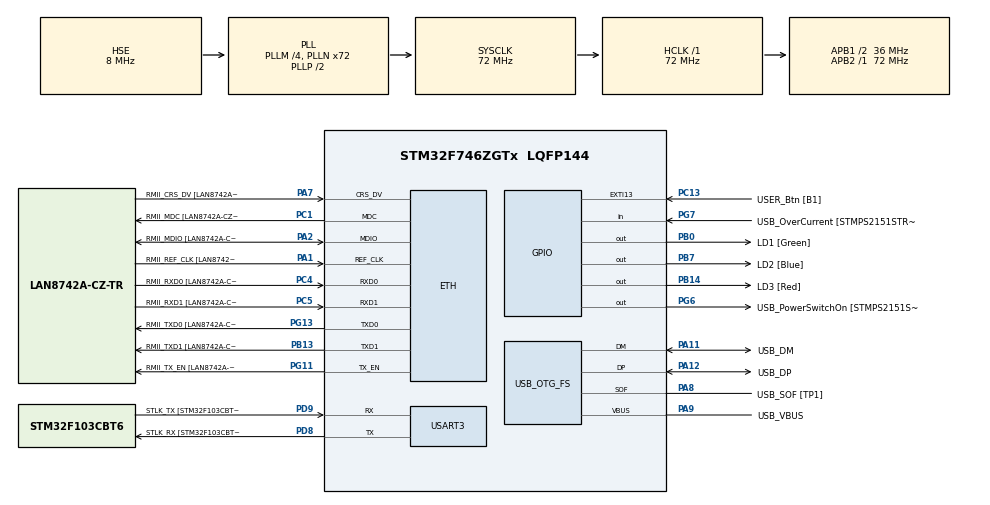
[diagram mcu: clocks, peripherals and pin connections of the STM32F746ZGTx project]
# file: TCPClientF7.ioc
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ETH.MACAddr=00\:80\:E0\:12\:34\:56
ETH.MediaInterface=ETH_MEDIA_INTERFACE_RMII
ETH.PHY_Name=LAN8742A_PHY_ADDRESS
ETH.PHY_Value=0
ETH.PhyAddress=0
ETH.RxMode=ETH_RXINTERRUPT_MODE
FREERTOS.HEAP_NUMBER=5
FREERTOS.Tasks01=defaultTask,0,128,StartDefaultTask,Default,NULL
FREERTOS.configGENERATE_RUN_TIME_STATS=1
FREERTOS.configTOTAL_HEAP_SIZE=32768
FREERTOS.configUSE_STATS_FORMATTING_FUNCTIONS=1
FREERTOS.configUSE_TRACE_FACILITY=1
LWIP.GATEWAY_ADDRESS=192.168.055.001
LWIP.IP_ADDRESS=192.168.055.141
LWIP.LWIP_DHCP=0
LWIP.MEM_SIZE=2048
LWIP.NETMASK_ADDRESS=255.255.255.000
LWIP.Version=v2.0.3_Cube
Mcu.Family=STM32F7
Mcu.Name=STM32F746ZGTx
Mcu.Package=LQFP144
NVIC.ETH_IRQn=true\:5\:0\:false\:false\:true\:true\:true\:true
NVIC.PriorityGroup=NVIC_PRIORITYGROUP_4
NVIC.TIM1_UP_TIM10_IRQn=true\:0\:0\:false\:false\:true\:false\:false\:true
NVIC.TimeBase=TIM1_UP_TIM10_IRQn
NVIC.TimeBaseIP=TIM1
PA1.GPIO_Label=RMII_REF_CLK [LAN8742A-CZ-TR_REFCLK0]
PA1.Mode=RMII
PA1.Signal=ETH_REF_CLK
PA10.GPIO_Label=USB_ID
PA10.Signal=USB_OTG_FS_ID
PA11.GPIO_Label=USB_DM
PA11.Mode=Device_Only
PA11.Signal=USB_OTG_FS_DM
PA12.GPIO_Label=USB_DP
PA12.Mode=Device_Only
PA12.Signal=USB_OTG_FS_DP
PA13.GPIO_Label=TMS
PA13.Mode=Serial_Wire
PA13.Signal=SYS_JTMS-SWDIO
PA14.GPIO_Label=TCK
PA14.Mode=Serial_Wire
PA14.Signal=SYS_JTCK-SWCLK
PA2.GPIO_Label=RMII_MDIO [LAN8742A-CZ-TR_MDIO]
PA2.Mode=RMII
PA2.Signal=ETH_MDIO
PA7.GPIO_Label=RMII_CRS_DV [LAN8742A-CZ-TR_CRS_DV]
PA7.Mode=RMII
PA7.Signal=ETH_CRS_DV
PA8.GPIO_Label=USB_SOF [TP1]
PA8.Mode=Activate_SOF_FS
PA8.Signal=USB_OTG_FS_SOF
PA9.GPIO_Label=USB_VBUS
PA9.Mode=Activate_VBUS
PA9.Signal=USB_OTG_FS_VBUS
PB0.GPIO_Label=LD1 [Green]
PB0.Signal=GPIO_Output
PB13.GPIO_Label=RMII_TXD1 [LAN8742A-CZ-TR_TXD1]
PB13.Mode=RMII
PB13.Signal=ETH_TXD1
PB14.GPIO_Label=LD3 [Red]
PB14.Signal=GPIO_Output
PB3.GPIO_Label=SW0
PB3.Signal=SYS_JTDO-SWO
PB7.GPIO_Label=LD2 [Blue]
PB7.Signal=GPIO_Output
PC1.GPIO_Label=RMII_MDC [LAN8742A-CZ-TR_MDC]
PC1.Mode=RMII
PC1.Signal=ETH_MDC
PC13.GPIO_Label=USER_Btn [B1]
PC13.Signal=GPXTI13
PC14/OSC32_IN.Signal=RCC_OSC32_IN
PC15/OSC32_OUT.Signal=RCC_OSC32_OUT
PC4.GPIO_Label=RMII_RXD0 [LAN8742A-CZ-TR_RXD0]
PC4.Mode=RMII
PC4.Signal=ETH_RXD0
PC5.GPIO_Label=RMII_RXD1 [LAN8742A-CZ-TR_RXD1]
PC5.Mode=RMII
PC5.Signal=ETH_RXD1
PD8.GPIO_Label=STLK_RX [STM32F103CBT6_PA3]
PD8.Mode=Asynchronous
PD8.Signal=USART3_TX
PD9.GPIO_Label=STLK_TX [STM32F103CBT6_PA2]
PD9.Mode=Asynchronous
PD9.Signal=USART3_RX
PG11.GPIO_Label=RMII_TX_EN [LAN8742A-CZ-TR_TXEN]
PG11.Mode=RMII
PG11.Signal=ETH_TX_EN
PG13.GPIO_Label=RMII_TXD0 [LAN8742A-CZ-TR_TXD0]
PG13.Mode=RMII
PG13.Signal=ETH_TXD0
PG6.GPIO_Label=USB_PowerSwitchOn [STMPS2151STR_EN]
PG6.Signal=GPIO_Output
PG7.GPIO_Label=USB_OverCurrent [STMPS2151STR_FAULT]
PG7.Signal=GPIO_Input
PH0/OSC_IN.GPIO_Label=MCO [STM32F103CBT6_PA8]
PH0/OSC_IN.Mode=HSE-External-Oscillator
PH0/OSC_IN.Signal=RCC_OSC_IN
PH1/OSC_OUT.Mode=HSE-External-Oscillator
PH1/OSC_OUT.Signal=RCC_OSC_OUT
ProjectManager.HeapSize=0x200
ProjectManager.StackSize=0x400
ProjectManager.TargetToolchain=STM32CubeIDE
RCC.48MHZClocksFreq_Value=24000000
RCC.AHBFreq_Value=72000000
RCC.APB1CLKDivider=RCC_HCLK_DIV2
RCC.APB1Freq_Value=36000000
RCC.APB1TimFreq_Value=72000000
RCC.APB2Freq_Value=72000000
RCC.APB2TimFreq_Value=72000000
RCC.CortexFreq_Value=72000000
RCC.HCLKFreq_Value=72000000
RCC.HSE_VALUE=8000000
RCC.HSI_VALUE=16000000
RCC.LSE_VALUE=32768
RCC.PLLM=4
RCC.PLLMUL=RCC_PLL_MUL9
RCC.PLLN=72
RCC.PLLQ=3
RCC.PRESCALERUSB=RCC_USBCLKSOURCE_PLL_DIV1_5
RCC.SYSCLKFreq_VALUE=72000000
RCC.SYSCLKSource=RCC_SYSCLKSOURCE_PLLCLK
RCC.SYSCLKSourceVirtual=RCC_SYSCLKSOURCE_PLLCLK
RCC.USBFreq_Value=48000000
RCC.VCOOutputFreq_Value=144000000
USART3.VirtualMode-Asynchronous=VM_ASYNC
USB_OTG_FS.VirtualMode=Device_Only
VP_FREERTOS_VS_CMSIS_V1.Mode=CMSIS_V1
VP_LWIP_VS_Enabled.Mode=Enabled
VP_SYS_VS_tim1.Mode=TIM1
board=NUCLEO-F746ZG

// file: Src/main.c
/* USER CODE BEGIN Header */
/**
  ******************************************************************************
  * @file           : main.c
  * @brief          : Main program body
  ******************************************************************************
  * @attention
  *
  * <h2><center>&copy; Copyright (c) 2019 STMicroelectronics.
  * All rights reserved.</center></h2>
  *
  * This software component is licensed by ST under BSD 3-Clause license,
  * the "License"; You may not use this file except in compliance with the
  * License. You may obtain a copy of the License at:
  *                        opensource.org/licenses/BSD-3-Clause
  *
  ******************************************************************************
  */
/* USER CODE END Header */

#include "main.h"
#include "cmsis_os.h"
#include "lwip.h"

/* USER CODE BEGIN Includes */
#include "stdint.h"
#include "string.h"
#include "lwip/opt.h"
#include "lwip/arch.h"
#include "lwip/api.h"
#include "lwip/inet.h"
#include "lwip/sockets.h"
/* USER CODE END Includes */

UART_HandleTypeDef huart3;

PCD_HandleTypeDef hpcd_USB_OTG_FS;

osThreadId defaultTaskHandle;
/* USER CODE BEGIN PV */
static __attribute__ ((used,section(".user_heap_stack"))) uint8_t heap_sram1[32*1024];

osThreadId ThreadRecvHandle;

typedef struct struct_sock_t {
  uint16_t y_pos;
  uint16_t port;
} struct_sock;
struct_sock sock01;

typedef struct struct_recv_socket_t {
  int sock;
  uint16_t y_pos;
} struct_recv_socket;

struct_recv_socket recv_socket01;
/* USER CODE END PV */

void SystemClock_Config(void);
static void MX_GPIO_Init(void);
static void MX_USART3_UART_Init(void);
static void MX_USB_OTG_FS_PCD_Init(void);
void StartDefaultTask(void const * argument);

int main(void)
{
  /* USER CODE BEGIN 1 */
	  HeapRegion_t xHeapRegions[] =
	  {
	      {  heap_sram1, sizeof(heap_sram1) },
	      { NULL, 0 }
	  };
	  vPortDefineHeapRegions( xHeapRegions );
  /* USER CODE END 1 */

  /* MCU Configuration--------------------------------------------------------*/

  /* Reset of all peripherals, Initializes the Flash interface and the Systick. */
  HAL_Init();

  /* Configure the system clock */
  SystemClock_Config();

  /* Initialize all configured peripherals */
  MX_GPIO_Init();
  MX_USART3_UART_Init();
  MX_USB_OTG_FS_PCD_Init();

  /* Create the thread(s) */
  /* definition and creation of defaultTask */
  osThreadDef(defaultTask, StartDefaultTask, osPriorityNormal, 0, 1024);
  defaultTaskHandle = osThreadCreate(osThread(defaultTask), NULL);

  /* Start scheduler */
  osKernelStart();

  /* We should never get here as control is now taken by the scheduler */

  /* Infinite loop */
  while (1)
  {

  }
}

void SystemClock_Config(void)
{
  RCC_OscInitTypeDef RCC_OscInitStruct = {0};
  RCC_ClkInitTypeDef RCC_ClkInitStruct = {0};
  RCC_PeriphCLKInitTypeDef PeriphClkInitStruct = {0};

  /** Configure the main internal regulator output voltage
  */
  __HAL_RCC_PWR_CLK_ENABLE();
  __HAL_PWR_VOLTAGESCALING_CONFIG(PWR_REGULATOR_VOLTAGE_SCALE3);
  /** Initializes the CPU, AHB and APB busses clocks
  */
  RCC_OscInitStruct.OscillatorType = RCC_OSCILLATORTYPE_HSE;
  RCC_OscInitStruct.HSEState = RCC_HSE_ON;
  RCC_OscInitStruct.PLL.PLLState = RCC_PLL_ON;
  RCC_OscInitStruct.PLL.PLLSource = RCC_PLLSOURCE_HSE;
  RCC_OscInitStruct.PLL.PLLM = 4;
  RCC_OscInitStruct.PLL.PLLN = 72;
  RCC_OscInitStruct.PLL.PLLP = RCC_PLLP_DIV2;
  RCC_OscInitStruct.PLL.PLLQ = 3;
  if (HAL_RCC_OscConfig(&RCC_OscInitStruct) != HAL_OK)
  {
    Error_Handler();
  }
  /** Initializes the CPU, AHB and APB busses clocks
  */
  RCC_ClkInitStruct.ClockType = RCC_CLOCKTYPE_HCLK|RCC_CLOCKTYPE_SYSCLK
                              |RCC_CLOCKTYPE_PCLK1|RCC_CLOCKTYPE_PCLK2;
  RCC_ClkInitStruct.SYSCLKSource = RCC_SYSCLKSOURCE_PLLCLK;
  RCC_ClkInitStruct.AHBCLKDivider = RCC_SYSCLK_DIV1;
  RCC_ClkInitStruct.APB1CLKDivider = RCC_HCLK_DIV2;
  RCC_ClkInitStruct.APB2CLKDivider = RCC_HCLK_DIV1;

  if (HAL_RCC_ClockConfig(&RCC_ClkInitStruct, FLASH_LATENCY_2) != HAL_OK)
  {
    Error_Handler();
  }
  PeriphClkInitStruct.PeriphClockSelection = RCC_PERIPHCLK_USART3|RCC_PERIPHCLK_CLK48;
  PeriphClkInitStruct.Usart3ClockSelection = RCC_USART3CLKSOURCE_PCLK1;
  PeriphClkInitStruct.Clk48ClockSelection = RCC_CLK48SOURCE_PLL;
  if (HAL_RCCEx_PeriphCLKConfig(&PeriphClkInitStruct) != HAL_OK)
  {
    Error_Handler();
  }
}

static void MX_USART3_UART_Init(void)
{

  huart3.Instance = USART3;
  huart3.Init.BaudRate = 115200;
  huart3.Init.WordLength = UART_WORDLENGTH_8B;
  huart3.Init.StopBits = UART_STOPBITS_1;
  huart3.Init.Parity = UART_PARITY_NONE;
  huart3.Init.Mode = UART_MODE_TX_RX;
  huart3.Init.HwFlowCtl = UART_HWCONTROL_NONE;
  huart3.Init.OverSampling = UART_OVERSAMPLING_16;
  huart3.Init.OneBitSampling = UART_ONE_BIT_SAMPLE_DISABLE;
  huart3.AdvancedInit.AdvFeatureInit = UART_ADVFEATURE_NO_INIT;
  if (HAL_UART_Init(&huart3) != HAL_OK)
  {
    Error_Handler();
  }

}

static void MX_USB_OTG_FS_PCD_Init(void)
{

  hpcd_USB_OTG_FS.Instance = USB_OTG_FS;
  hpcd_USB_OTG_FS.Init.dev_endpoints = 6;
  hpcd_USB_OTG_FS.Init.speed = PCD_SPEED_FULL;
  hpcd_USB_OTG_FS.Init.dma_enable = DISABLE;
  hpcd_USB_OTG_FS.Init.phy_itface = PCD_PHY_EMBEDDED;
  hpcd_USB_OTG_FS.Init.Sof_enable = ENABLE;
  hpcd_USB_OTG_FS.Init.low_power_enable = DISABLE;
  hpcd_USB_OTG_FS.Init.lpm_enable = DISABLE;
  hpcd_USB_OTG_FS.Init.vbus_sensing_enable = ENABLE;
  hpcd_USB_OTG_FS.Init.use_dedicated_ep1 = DISABLE;
  if (HAL_PCD_Init(&hpcd_USB_OTG_FS) != HAL_OK)
  {
    Error_Handler();
  }

}

static void MX_GPIO_Init(void)
{
  GPIO_InitTypeDef GPIO_InitStruct = {0};

  /* GPIO Ports Clock Enable */
  __HAL_RCC_GPIOC_CLK_ENABLE();
  __HAL_RCC_GPIOH_CLK_ENABLE();
  __HAL_RCC_GPIOA_CLK_ENABLE();
  __HAL_RCC_GPIOB_CLK_ENABLE();
  __HAL_RCC_GPIOD_CLK_ENABLE();
  __HAL_RCC_GPIOG_CLK_ENABLE();

  /*Configure GPIO pin Output Level */
  HAL_GPIO_WritePin(GPIOB, LD1_Pin|LD3_Pin|LD2_Pin, GPIO_PIN_RESET);

  /*Configure GPIO pin Output Level */
  HAL_GPIO_WritePin(USB_PowerSwitchOn_GPIO_Port, USB_PowerSwitchOn_Pin, GPIO_PIN_RESET);

  /*Configure GPIO pin : USER_Btn_Pin */
  GPIO_InitStruct.Pin = USER_Btn_Pin;
  GPIO_InitStruct.Mode = GPIO_MODE_IT_RISING;
  GPIO_InitStruct.Pull = GPIO_NOPULL;
  HAL_GPIO_Init(USER_Btn_GPIO_Port, &GPIO_InitStruct);

  /*Configure GPIO pins : LD1_Pin LD3_Pin LD2_Pin */
  GPIO_InitStruct.Pin = LD1_Pin|LD3_Pin|LD2_Pin;
  GPIO_InitStruct.Mode = GPIO_MODE_OUTPUT_PP;
  GPIO_InitStruct.Pull = GPIO_NOPULL;
  GPIO_InitStruct.Speed = GPIO_SPEED_FREQ_LOW;
  HAL_GPIO_Init(GPIOB, &GPIO_InitStruct);

  /*Configure GPIO pin : USB_PowerSwitchOn_Pin */
  GPIO_InitStruct.Pin = USB_PowerSwitchOn_Pin;
  GPIO_InitStruct.Mode = GPIO_MODE_OUTPUT_PP;
  GPIO_InitStruct.Pull = GPIO_NOPULL;
  GPIO_InitStruct.Speed = GPIO_SPEED_FREQ_LOW;
  HAL_GPIO_Init(USB_PowerSwitchOn_GPIO_Port, &GPIO_InitStruct);

  /*Configure GPIO pin : USB_OverCurrent_Pin */
  GPIO_InitStruct.Pin = USB_OverCurrent_Pin;
  GPIO_InitStruct.Mode = GPIO_MODE_INPUT;
  GPIO_InitStruct.Pull = GPIO_NOPULL;
  HAL_GPIO_Init(USB_OverCurrent_GPIO_Port, &GPIO_InitStruct);

}

/* USER CODE BEGIN 4 */
//---------------------------------------------------------------
static void recv_thread(void *arg)
{
//  struct_out *qstruct;
  struct_recv_socket *arg_recv_socket;
  arg_recv_socket = (struct_recv_socket*) arg;
  int recv_data;
  char data_buffer[30] = {};
  for(;;)
  {
    recv_data = recv(arg_recv_socket->sock,data_buffer,sizeof(data_buffer),0);
    if(recv_data > 0)
    {
    	//====DATA RECEIVED====
      data_buffer[recv_data-1] = 0;
//      qstruct = osMailAlloc(strout_Queue, osWaitForever);
//      sprintf(qstruct->str,"%-20s", (char*)data_buffer);
//      qstruct->y_pos = arg_recv_socket->y_pos;
//      qstruct->x_pos = 10;
//      qstruct->sfont = Font24;
//      osMailPut(strout_Queue, qstruct);
    }
  }
}
//---------------------------------------------------------------
static void send_thread(void *arg)
{
  struct_sock *arg_sock;
  int sock;
  struct sockaddr_in localhost, remotehost;
  arg_sock = (struct_sock*) arg;
  uint32_t syscnt = 0;
  char buf[4] = "1234";
  if ((sock = socket(AF_INET,SOCK_STREAM, 0)) >= 0)
  {
    memset(&localhost, 0, sizeof(struct sockaddr_in));
    localhost.sin_family = AF_INET;
    localhost.sin_port = htons(arg_sock->port);
    localhost.sin_addr.s_addr = INADDR_ANY;
    if (bind(sock, (struct sockaddr *)&localhost, sizeof(struct sockaddr_in)) ==  0)
    {
      memset(&remotehost, 0, sizeof(struct sockaddr_in));
      remotehost.sin_family = AF_INET;
      remotehost.sin_port = htons(11411);
      ip4addr_aton("192.168.55.10",(ip4_addr_t*)&remotehost.sin_addr);
      if (connect(sock, (struct sockaddr *)&remotehost,sizeof(struct sockaddr_in)) >= 0)
      {
//        sprintf(str_usart,"Connected\r\n");
//        HAL_UART_Transmit(&huart1,(uint8_t*)str_usart,strlen(str_usart),0x1000);
        recv_socket01.y_pos = arg_sock->y_pos;
        recv_socket01.sock = sock;
        ThreadRecvHandle = sys_thread_new("recv_thread", recv_thread, (void*)&recv_socket01, DEFAULT_THREAD_STACKSIZE, osPriorityNormal);
        for(;;)
        {
          syscnt = osKernelSysTick();
          if(syscnt>50000)
          {
            close(sock);
            //received
            osThreadTerminate(ThreadRecvHandle);
            for(;;)
            {
              osDelay(1);
            }
          }
//          sprintf(buf,"%lu\r\n",syscnt);
//          HAL_UART_Transmit(&huart1,(uint8_t*)buf,strlen(buf),0x1000);
          write(sock,(void *) buf,strlen(buf));
          osDelay(1000);
        }
      }
    }
    else
    {
      close(sock);
      return;
    }
  }
}
//---------------------------------------------------------------
/* USER CODE END 4 */

void StartDefaultTask(void const * argument)
{

  /* init code for LWIP */
  MX_LWIP_Init();

  /* USER CODE BEGIN 5 */
  sock01.port = 11411;
  sock01.y_pos = 60;
  sys_thread_new("send_thread", send_thread, (void*)&sock01, DEFAULT_THREAD_STACKSIZE * 2, osPriorityNormal);
  /* Infinite loop */
  for(;;)
  {
    osDelay(1);
  }
  /* USER CODE END 5 */
}

void HAL_TIM_PeriodElapsedCallback(TIM_HandleTypeDef *htim)
{
  if (htim->Instance == TIM1) {
    HAL_IncTick();
  }
}

void Error_Handler(void)
{
}

/************************ (C) COPYRIGHT STMicroelectronics *****END OF FILE****/
